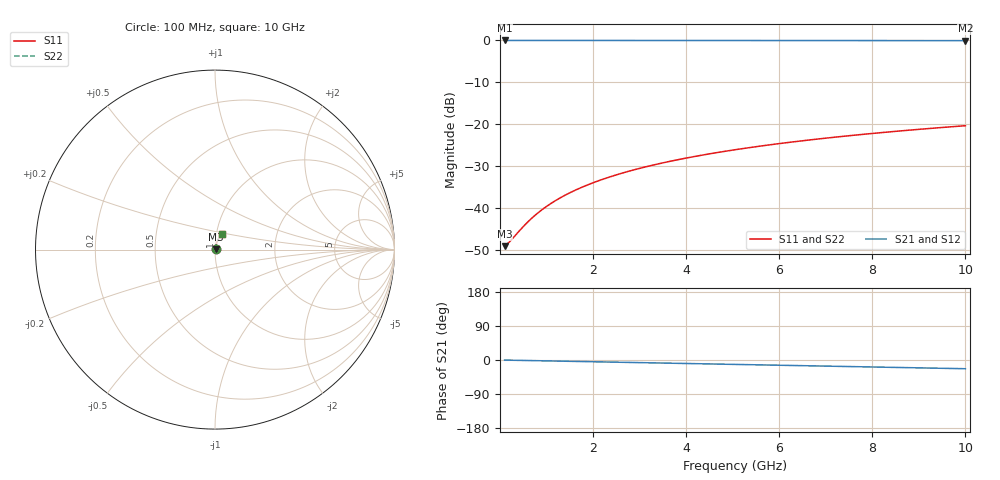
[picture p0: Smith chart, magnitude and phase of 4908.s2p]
# Hz S RI R 50.00
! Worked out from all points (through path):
!   100 points, 100 MHz to 10 GHz, reference 50 ohm
!   highest |S21| = -0.03 dB at 100 MHz (marker M1); lowest = -0.1 dB at 10 GHz (marker M2)
!   group delay of S21, straight-line fit = 6.4 ps
!   lowest |S11| = -49.1 dB at 100 MHz (marker M3), VSWR 1.01, Z = 50.3 + j0.0981 ohm
!   |S11| at or under -10 dB: start of sweep to end of sweep
!   |S22| runs from -49.1 to -20.4 dB; largest |S21 - S12| = 0
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1e8  0.00338 0.000974  0.9966 -0.00401  0.9966 -0.00401  0.00338 0.000974
2e8  0.00341 0.00195  0.9966 -0.00801  0.9966 -0.00801  0.00341 0.00195
5e8  0.00353 0.00487  0.9963 -0.02  0.9963 -0.02  0.00353 0.00487
6e8  0.00358 0.00584  0.9962 -0.024  0.9962 -0.024  0.00358 0.00584
7e8  0.00364 0.00681  0.9961 -0.028  0.9961 -0.028  0.00364 0.00681
9e8  0.00378 0.00876  0.9958 -0.036  0.9958 -0.036  0.00378 0.00876
1.1e9  0.00395 0.0107  0.9955 -0.044  0.9955 -0.044  0.00395 0.0107
1.3e9  0.00415 0.0126  0.995 -0.052  0.995 -0.052  0.00415 0.0126
1.5e9  0.00438 0.0146  0.9945 -0.06  0.9945 -0.06  0.00438 0.0146
1.8e9  0.00478 0.0175  0.9937 -0.072  0.9937 -0.072  0.00478 0.0175
2.1e9  0.00524 0.0203  0.9927 -0.084  0.9927 -0.084  0.00524 0.0203
2.5e9  0.00598 0.0242  0.9911 -0.0999  0.9911 -0.0999  0.00598 0.0242
2.9e9  0.00683 0.028  0.9892 -0.1158  0.9892 -0.1158  0.00683 0.028
3.4e9  0.00806 0.0327  0.9865 -0.1357  0.9865 -0.1357  0.00806 0.0327
3.8e9  0.00919 0.0364  0.984 -0.1515  0.984 -0.1515  0.00919 0.0364
4.2e9  0.0104 0.0401  0.9813 -0.1673  0.9813 -0.1673  0.0104 0.0401
5.1e9  0.0137 0.0482  0.9742 -0.2026  0.9742 -0.2026  0.0137 0.0482
5.9e9  0.017 0.0552  0.9667 -0.2337  0.9667 -0.2337  0.017 0.0552
6.7e9  0.0208 0.062  0.9582 -0.2646  0.9582 -0.2646  0.0208 0.062
7.5e9  0.025 0.0685  0.9487 -0.2951  0.9487 -0.2951  0.025 0.0685
8.4e9  0.0303 0.0755  0.9368 -0.329  0.9368 -0.329  0.0303 0.0755
1e10  0.0408 0.0869  0.9124 -0.388  0.9124 -0.388  0.0408 0.0869
